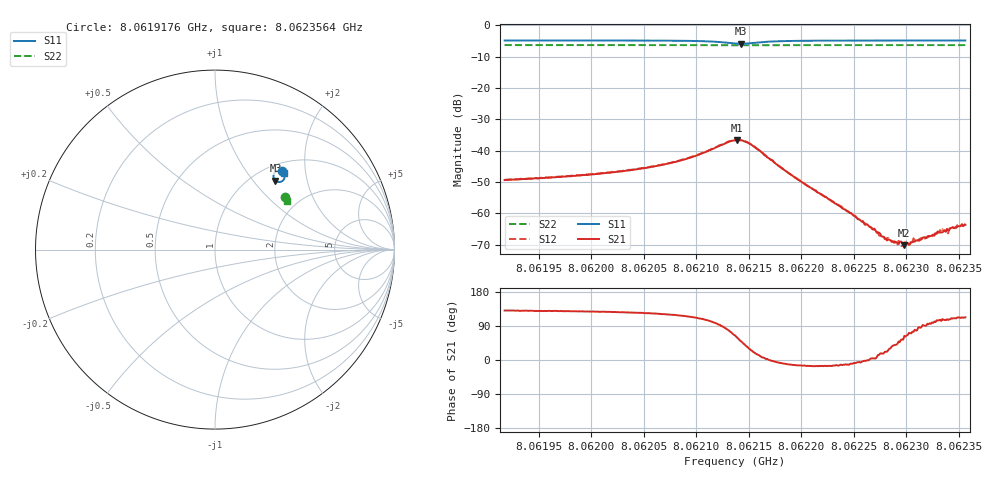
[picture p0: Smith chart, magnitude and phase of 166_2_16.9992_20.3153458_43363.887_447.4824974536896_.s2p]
#  HZ  S  RI  R  50.00
! Rohde & Schwarz Vector Network Analyzer
! Rohde-Schwarz,ZNB20-2Port,1311601062101988,3.16
! Created: UTC 3/20/2024, 10:59:27 PM
! freq[Hz]  re:S11  im:S11  re:S21  im:S21  re:S12  im:S12  re:S22  im:S22
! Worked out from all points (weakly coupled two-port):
!   401 points, 8.0619176 GHz to 8.0623564 GHz, reference 50 ohm
!   highest |S21| = -36.60 dB at 8.0621392 GHz (marker M1); lowest = -70.2 dB at 8.0622983 GHz (marker M2)
!   lowest |S11| = -5.8 dB at 8.0621425 GHz (marker M3), VSWR 3.09, Z = 63 + j65.4 ohm
!   |S11| at or under -10 dB: nowhere
!   |S22| runs from -6.3 to -6.3 dB; largest |S21 - S12| = 0.0011
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8.06191764e9  0.3711 0.4403  -0.00222 0.00258  -0.00209 0.00276  0.3876 0.293
8.06199113e9  0.3772 0.4345  -0.00253 0.00319  -0.00234 0.00337  0.3901 0.2893
8.06203171e9  0.381 0.4297  -0.00278 0.00383  -0.00258 0.00402  0.3915 0.2872
8.06206462e9  0.3848 0.4237  -0.00308 0.00493  -0.00281 0.00515  0.3926 0.2853
8.06209643e9  0.3884 0.4115  -0.00313 0.0073  -0.00271 0.00759  0.3937 0.2832
8.06213701e9  0.3517 0.3769  0.00624 0.0133  0.00714 0.0129  0.3928 0.2805
8.06213921e9  0.3456 0.3786  0.00759 0.0127  0.00852 0.0122  0.3925 0.2807
8.0621425e9  0.337 0.3835  0.00949 0.0112  0.0101 0.0107  0.3923 0.2807
8.06215347e9  0.3256 0.4108  0.0111 0.00487  0.0115 0.00408  0.3926 0.2815
8.06218089e9  0.3498 0.4386  0.00529 -0.000774  0.00527 -0.00113  0.3951 0.2808
8.0622105e9  0.3645 0.4388  0.00238 -0.00069  0.00233 -0.0008  0.3965 0.2794
8.06224012e9  0.372 0.4362  0.00115 -0.000257  0.00116 -0.000347  0.3976 0.2779
8.06226864e9  0.3765 0.4339  0.000549 4.13e-05  0.000558 5.54e-06  0.3987 0.2763
8.06227632e9  0.3775 0.4334  0.000418 0.000133  0.000429 8.46e-05  0.399 0.2761
8.06228399e9  0.3785 0.4329  0.00033 0.00019  0.000351 0.000169  0.3994 0.2756
8.06229387e9  0.3795 0.4322  0.000234 0.000254  0.000214 0.000241  0.3997 0.2751
8.06229825e9  0.38 0.4318  0.000138 0.000276  0.000184 0.00027  0.3997 0.2747
8.06230483e9  0.3807 0.4313  0.000115 0.000323  0.000109 0.000357  0.4001 0.2745
8.06232458e9  0.3827 0.43  -6.74e-05 0.000438  -6.82e-05 0.000418  0.4007 0.2736
8.06233006e9  0.3831 0.4297  -0.000126 0.000498  -8.58e-05 0.000477  0.401 0.2732
8.06234432e9  0.3843 0.4287  -0.000199 0.000562  -0.000149 0.000584  0.4014 0.2725
8.06235639e9  0.3853 0.4279  -0.000251 0.000604  -0.000229 0.000642  0.4017 0.2719
